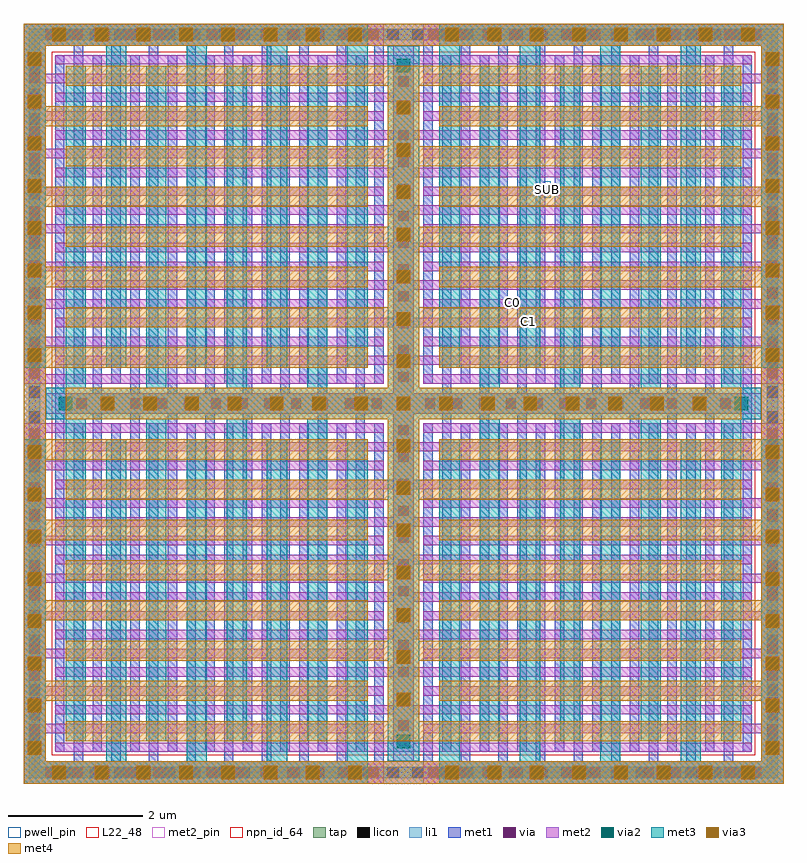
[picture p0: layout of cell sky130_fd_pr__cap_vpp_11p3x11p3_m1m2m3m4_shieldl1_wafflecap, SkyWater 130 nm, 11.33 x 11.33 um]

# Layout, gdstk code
import gdstk
lib = gdstk.Library(unit=1e-6, precision=1e-09)
def R(c, l, rs):  # rectangles x0, y0, x1, y1
    for r in rs: c.add(gdstk.rectangle(r[:2], r[2:], *l))
def A(c, l, x, y, w, h, nx, ny, dx, dy):  # array of equal rectangles
    R(c, l, [(x+i*dx, y+j*dy, x+i*dx+w, y+j*dy+h) for i in range(nx) for j in range(ny)])
def P(c, l, *ps):  # polygons
    for p in ps: c.add(gdstk.Polygon(p, *l))
L22_48 = (22, 48)
tap = (65, 44)
licon = (66, 44)
li1 = (67, 20)
met1 = (68, 20)
via = (68, 44)
met2_pin = (69, 16)
met2 = (69, 20)
via2 = (69, 44)
met3 = (70, 20)
via3 = (70, 44)
met4 = (71, 20)
npn_id_64 = (82, 64)
pwell_pin = (122, 16)

sky130_fd_pr__cap_vpp_11 = lib.new_cell('sky130_fd_pr__cap_vpp_11p3x11p3_m1m2m3m4_shieldl1_wafflecap')
R(sky130_fd_pr__cap_vpp_11, L22_48, [(0.42,0.42,10.91,10.91)])
A(sky130_fd_pr__cap_vpp_11, licon, 0.615, 0.08, 0.17, 0.17, 28, 2, 0.37, 11)
A(sky130_fd_pr__cap_vpp_11, licon, 0.08, 0.57, 0.17, 0.17, 1, 28, 0, 0.37)
A(sky130_fd_pr__cap_vpp_11, licon, 11.08, 0.57, 0.17, 0.17, 1, 28, 0, 0.37)
P(sky130_fd_pr__cap_vpp_11, met1, [(10.86,10.86),(10.72,10.86),(10.72,5.82),(10.3,5.82),(10.3,10.86),(10.16,10.86),(10.16,5.82),(9.74,5.82),(9.74,10.86),(9.6,10.86),(9.6,5.82),(9.18,5.82),(9.18,10.86),(9.04,10.86),(9.04,5.82),(8.62,5.82),(8.62,10.86),(8.48,10.86),(8.48,5.82),(8.06,5.82),(8.06,10.86),(7.92,10.86),(7.92,5.82),(7.5,5.82),(7.5,10.86),(7.36,10.86),(7.36,5.82),(6.94,5.82),(6.94,10.86),(6.8,10.86),(6.8,5.82),(6.38,5.82),(6.38,10.86),(6.24,10.86),(6.24,5.82),(5.82,5.82),(5.82,10.86),(5.51,10.86),(5.51,5.82),(5.09,5.82),(5.09,10.86),(4.95,10.86),(4.95,5.82),(4.53,5.82),(4.53,10.86),(4.39,10.86),(4.39,5.82),(3.97,5.82),(3.97,10.86),(3.83,10.86),(3.83,5.82),(3.41,5.82),(3.41,10.86),(3.27,10.86),(3.27,5.82),(2.85,5.82),(2.85,10.86),(2.71,10.86),(2.71,5.82),(2.29,5.82),(2.29,10.86),(2.15,10.86),(2.15,5.82),(1.73,5.82),(1.73,10.86),(1.59,10.86),(1.59,5.82),(1.17,5.82),(1.17,10.86),(1.03,10.86),(1.03,5.82),(0.61,5.82),(0.61,10.86),(0.47,10.86),(0.47,0.47),(0.61,0.47),(0.61,5.51),(1.03,5.51),(1.03,0.47),(1.17,0.47),(1.17,5.51),(1.59,5.51),(1.59,0.47),(1.73,0.47),(1.73,5.51),(2.15,5.51),(2.15,0.47),(2.29,0.47),(2.29,5.51),(2.71,5.51),(2.71,0.47),(2.85,0.47),(2.85,5.51),(3.27,5.51),(3.27,0.47),(3.41,0.47),(3.41,5.51),(3.83,5.51),(3.83,0.47),(3.97,0.47),(3.97,5.51),(4.39,5.51),(4.39,0.47),(4.53,0.47),(4.53,5.51),(4.95,5.51),(4.95,0.47),(5.09,0.47),(5.09,5.51),(5.51,5.51),(5.51,0.47),(5.82,0.47),(5.82,5.51),(6.24,5.51),(6.24,0.47),(6.38,0.47),(6.38,5.51),(6.8,5.51),(6.8,0.47),(6.94,0.47),(6.94,5.51),(7.36,5.51),(7.36,0.47),(7.5,0.47),(7.5,5.51),(7.92,5.51),(7.92,0.47),(8.06,0.47),(8.06,5.51),(8.48,5.51),(8.48,0.47),(8.62,0.47),(8.62,5.51),(9.04,5.51),(9.04,0.47),(9.18,0.47),(9.18,5.51),(9.6,5.51),(9.6,0.47),(9.74,0.47),(9.74,5.51),(10.16,5.51),(10.16,0.47),(10.3,0.47),(10.3,5.51),(10.72,5.51),(10.72,0.47),(10.86,0.47)],
  [(11.33,11.33),(11,11.33),(11,0.33),(10.58,0.33),(10.58,5.37),(10.44,5.37),(10.44,0.33),(10.02,0.33),(10.02,5.37),(9.88,5.37),(9.88,0.33),(9.46,0.33),(9.46,5.37),(9.32,5.37),(9.32,0.33),(8.9,0.33),(8.9,5.37),(8.76,5.37),(8.76,0.33),(8.34,0.33),(8.34,5.37),(8.2,5.37),(8.2,0.33),(7.78,0.33),(7.78,5.37),(7.64,5.37),(7.64,0.33),(7.22,0.33),(7.22,5.37),(7.08,5.37),(7.08,0.33),(6.66,0.33),(6.66,5.37),(6.52,5.37),(6.52,0.33),(6.1,0.33),(6.1,5.37),(5.96,5.37),(5.96,0.33),(5.37,0.33),(5.37,5.37),(5.23,5.37),(5.23,0.33),(4.81,0.33),(4.81,5.37),(4.67,5.37),(4.67,0.33),(4.25,0.33),(4.25,5.37),(4.11,5.37),(4.11,0.33),(3.69,0.33),(3.69,5.37),(3.55,5.37),(3.55,0.33),(3.13,0.33),(3.13,5.37),(2.99,5.37),(2.99,0.33),(2.57,0.33),(2.57,5.37),(2.43,5.37),(2.43,0.33),(2.01,0.33),(2.01,5.37),(1.87,5.37),(1.87,0.33),(1.45,0.33),(1.45,5.37),(1.31,5.37),(1.31,0.33),(0.89,0.33),(0.89,5.37),(0.75,5.37),(0.75,0.33),(0.33,0.33),(0.33,11),(0.75,11),(0.75,5.96),(0.89,5.96),(0.89,11),(1.31,11),(1.31,5.96),(1.45,5.96),(1.45,11),(1.87,11),(1.87,5.96),(2.01,5.96),(2.01,11),(2.43,11),(2.43,5.96),(2.57,5.96),(2.57,11),(2.99,11),(2.99,5.96),(3.13,5.96),(3.13,11),(3.55,11),(3.55,5.96),(3.69,5.96),(3.69,11),(4.11,11),(4.11,5.96),(4.25,5.96),(4.25,11),(4.67,11),(4.67,5.96),(4.81,5.96),(4.81,11),(5.23,11),(5.23,5.96),(5.37,5.96),(5.37,11),(5.96,11),(5.96,5.96),(6.1,5.96),(6.1,11),(6.52,11),(6.52,5.96),(6.66,5.96),(6.66,11),(7.08,11),(7.08,5.96),(7.22,5.96),(7.22,11),(7.64,11),(7.64,5.96),(7.78,5.96),(7.78,11),(8.2,11),(8.2,5.96),(8.34,5.96),(8.34,11),(8.76,11),(8.76,5.96),(8.9,5.96),(8.9,11),(9.32,11),(9.32,5.96),(9.46,5.96),(9.46,11),(9.88,11),(9.88,5.96),(10.02,5.96),(10.02,11),(10.44,11),(10.44,5.96),(10.58,5.96),(10.58,11),(11,11),(11,11.33),(0,11.33),(0,0),(11.33,0)])
A(sky130_fd_pr__cap_vpp_11, via, 0.335, 0.09, 0.15, 0.15, 13, 2, 0.4, 11)
A(sky130_fd_pr__cap_vpp_11, via, 6.045, 0.09, 0.15, 0.15, 13, 2, 0.4, 11)
A(sky130_fd_pr__cap_vpp_11, via, 0.09, 0.735, 0.15, 0.15, 1, 12, 0, 0.4)
A(sky130_fd_pr__cap_vpp_11, via, 11.09, 0.735, 0.15, 0.15, 1, 12, 0, 0.4)
A(sky130_fd_pr__cap_vpp_11, via, 5.59, 0.79, 0.15, 0.15, 1, 12, 0, 0.4)
A(sky130_fd_pr__cap_vpp_11, via, 0.79, 5.59, 0.15, 0.15, 25, 1, 0.4, 0)
A(sky130_fd_pr__cap_vpp_11, via, 5.59, 5.99, 0.15, 0.15, 1, 12, 0, 0.4)
A(sky130_fd_pr__cap_vpp_11, via, 0.09, 6.045, 0.15, 0.15, 1, 12, 0, 0.4)
A(sky130_fd_pr__cap_vpp_11, via, 11.09, 6.045, 0.15, 0.15, 1, 12, 0, 0.4)
R(sky130_fd_pr__cap_vpp_11, met2_pin, [(7.425,6.81,7.605,6.93), (7.25,7.105,7.345,7.205)])
P(sky130_fd_pr__cap_vpp_11, met2, [(5.37,11.33),(0,11.33),(0,5.96),(5.37,5.96),(5.37,6.1),(0.33,6.1),(0.33,6.52),(5.37,6.52),(5.37,6.66),(0.33,6.66),(0.33,7.08),(5.37,7.08),(5.37,7.22),(0.33,7.22),(0.33,7.64),(5.37,7.64),(5.37,7.78),(0.33,7.78),(0.33,8.2),(5.37,8.2),(5.37,8.34),(0.33,8.34),(0.33,8.76),(5.37,8.76),(5.37,8.9),(0.33,8.9),(0.33,9.32),(5.37,9.32),(5.37,9.46),(0.33,9.46),(0.33,9.88),(5.37,9.88),(5.37,10.02),(0.33,10.02),(0.33,10.44),(5.37,10.44),(5.37,10.58),(0.33,10.58),(0.33,11),(5.37,11)],
  [(10.86,0.61),(5.82,0.61),(5.82,1.03),(10.86,1.03),(10.86,1.17),(5.82,1.17),(5.82,1.59),(10.86,1.59),(10.86,1.73),(5.82,1.73),(5.82,2.15),(10.86,2.15),(10.86,2.29),(5.82,2.29),(5.82,2.71),(10.86,2.71),(10.86,2.85),(5.82,2.85),(5.82,3.27),(10.86,3.27),(10.86,3.41),(5.82,3.41),(5.82,3.83),(10.86,3.83),(10.86,3.97),(5.82,3.97),(5.82,4.39),(10.86,4.39),(10.86,4.53),(5.82,4.53),(5.82,4.95),(10.86,4.95),(10.86,5.09),(5.82,5.09),(5.82,5.51),(11,5.51),(11,5.82),(5.82,5.82),(5.82,6.24),(10.86,6.24),(10.86,6.38),(5.82,6.38),(5.82,6.8),(10.86,6.8),(10.86,6.94),(5.82,6.94),(5.82,7.36),(10.86,7.36),(10.86,7.5),(5.82,7.5),(5.82,7.92),(10.86,7.92),(10.86,8.06),(5.82,8.06),(5.82,8.48),(10.86,8.48),(10.86,8.62),(5.82,8.62),(5.82,9.04),(10.86,9.04),(10.86,9.18),(5.82,9.18),(5.82,9.6),(10.86,9.6),(10.86,9.74),(5.82,9.74),(5.82,10.16),(10.86,10.16),(10.86,10.3),(5.82,10.3),(5.82,10.72),(10.86,10.72),(10.86,10.86),(5.82,10.86),(5.82,11),(5.51,11),(5.51,10.86),(0.47,10.86),(0.47,10.72),(5.51,10.72),(5.51,10.3),(0.47,10.3),(0.47,10.16),(5.51,10.16),(5.51,9.74),(0.47,9.74),(0.47,9.6),(5.51,9.6),(5.51,9.18),(0.47,9.18),(0.47,9.04),(5.51,9.04),(5.51,8.62),(0.47,8.62),(0.47,8.48),(5.51,8.48),(5.51,8.06),(0.47,8.06),(0.47,7.92),(5.51,7.92),(5.51,7.5),(0.47,7.5),(0.47,7.36),(5.51,7.36),(5.51,6.94),(0.47,6.94),(0.47,6.8),(5.51,6.8),(5.51,6.38),(0.47,6.38),(0.47,6.24),(5.51,6.24),(5.51,5.82),(0.33,5.82),(0.33,5.51),(5.51,5.51),(5.51,5.09),(0.47,5.09),(0.47,4.95),(5.51,4.95),(5.51,4.53),(0.47,4.53),(0.47,4.39),(5.51,4.39),(5.51,3.97),(0.47,3.97),(0.47,3.83),(5.51,3.83),(5.51,3.41),(0.47,3.41),(0.47,3.27),(5.51,3.27),(5.51,2.85),(0.47,2.85),(0.47,2.71),(5.51,2.71),(5.51,2.29),(0.47,2.29),(0.47,2.15),(5.51,2.15),(5.51,1.73),(0.47,1.73),(0.47,1.59),(5.51,1.59),(5.51,1.17),(0.47,1.17),(0.47,1.03),(5.51,1.03),(5.51,0.61),(0.47,0.61),(0.47,0.47),(5.51,0.47),(5.51,0.33),(5.82,0.33),(5.82,0.47),(10.86,0.47)],
  [(5.96,0),(11.33,0),(11.33,5.37),(5.96,5.37),(5.96,5.23),(11,5.23),(11,4.81),(5.96,4.81),(5.96,4.67),(11,4.67),(11,4.25),(5.96,4.25),(5.96,4.11),(11,4.11),(11,3.69),(5.96,3.69),(5.96,3.55),(11,3.55),(11,3.13),(5.96,3.13),(5.96,2.99),(11,2.99),(11,2.57),(5.96,2.57),(5.96,2.43),(11,2.43),(11,2.01),(5.96,2.01),(5.96,1.87),(11,1.87),(11,1.45),(5.96,1.45),(5.96,1.31),(11,1.31),(11,0.89),(5.96,0.89),(5.96,0.75),(11,0.75),(11,0.33),(5.96,0.33)],
  [(5.96,11.33),(11.33,11.33),(11.33,5.96),(5.96,5.96),(5.96,6.1),(11,6.1),(11,6.52),(5.96,6.52),(5.96,6.66),(11,6.66),(11,7.08),(5.96,7.08),(5.96,7.22),(11,7.22),(11,7.64),(5.96,7.64),(5.96,7.78),(11,7.78),(11,8.2),(5.96,8.2),(5.96,8.34),(11,8.34),(11,8.76),(5.96,8.76),(5.96,8.9),(11,8.9),(11,9.32),(5.96,9.32),(5.96,9.46),(11,9.46),(11,9.88),(5.96,9.88),(5.96,10.02),(11,10.02),(11,10.44),(5.96,10.44),(5.96,10.58),(11,10.58),(11,11),(5.96,11)],
  [(5.37,0),(0,0),(0,5.37),(5.37,5.37),(5.37,5.23),(0.33,5.23),(0.33,4.81),(5.37,4.81),(5.37,4.67),(0.33,4.67),(0.33,4.25),(5.37,4.25),(5.37,4.11),(0.33,4.11),(0.33,3.69),(5.37,3.69),(5.37,3.55),(0.33,3.55),(0.33,3.13),(5.37,3.13),(5.37,2.99),(0.33,2.99),(0.33,2.57),(5.37,2.57),(5.37,2.43),(0.33,2.43),(0.33,2.01),(5.37,2.01),(5.37,1.87),(0.33,1.87),(0.33,1.45),(5.37,1.45),(5.37,1.31),(0.33,1.31),(0.33,0.89),(5.37,0.89),(5.37,0.75),(0.33,0.75),(0.33,0.33),(5.37,0.33)])
A(sky130_fd_pr__cap_vpp_11, via2, 0.43, 0.065, 0.2, 0.2, 8, 2, 0.63, 11)
A(sky130_fd_pr__cap_vpp_11, via2, 6.29, 0.065, 0.2, 0.2, 8, 2, 0.63, 11)
A(sky130_fd_pr__cap_vpp_11, via2, 0.065, 0.43, 0.2, 0.2, 1, 8, 0, 0.63)
A(sky130_fd_pr__cap_vpp_11, via2, 11.065, 0.43, 0.2, 0.2, 1, 8, 0, 0.63)
A(sky130_fd_pr__cap_vpp_11, via2, 5.565, 0.525, 0.2, 0.2, 1, 8, 0, 0.63)
A(sky130_fd_pr__cap_vpp_11, via2, 0.525, 5.565, 0.2, 0.2, 17, 1, 0.63, 0)
A(sky130_fd_pr__cap_vpp_11, via2, 5.565, 6.195, 0.2, 0.2, 1, 8, 0, 0.63)
A(sky130_fd_pr__cap_vpp_11, via2, 0.065, 6.29, 0.2, 0.2, 1, 8, 0, 0.63)
A(sky130_fd_pr__cap_vpp_11, via2, 11.065, 6.29, 0.2, 0.2, 1, 8, 0, 0.63)
P(sky130_fd_pr__cap_vpp_11, met3, [(11.33,11.33),(6.2,11.33),(6.2,6.2),(6.5,6.2),(6.5,11),(7.4,11),(7.4,6.2),(7.7,6.2),(7.7,11),(8.6,11),(8.6,6.2),(8.9,6.2),(8.9,11),(9.8,11),(9.8,6.2),(10.1,6.2),(10.1,11),(11,11),(11,6.2),(11.33,6.2)],
  [(11.33,5.13),(11,5.13),(11,0.33),(10.1,0.33),(10.1,5.13),(9.8,5.13),(9.8,0.33),(8.9,0.33),(8.9,5.13),(8.6,5.13),(8.6,0.33),(7.7,0.33),(7.7,5.13),(7.4,5.13),(7.4,0.33),(6.5,0.33),(6.5,5.13),(6.2,5.13),(6.2,0),(11.33,0)],
  [(5.13,5.13),(4.83,5.13),(4.83,0.33),(3.93,0.33),(3.93,5.13),(3.63,5.13),(3.63,0.33),(2.73,0.33),(2.73,5.13),(2.43,5.13),(2.43,0.33),(1.53,0.33),(1.53,5.13),(1.23,5.13),(1.23,0.33),(0.33,0.33),(0.33,5.13),(0,5.13),(0,0),(5.13,0)],
  [(5.13,11.33),(0,11.33),(0,6.2),(0.33,6.2),(0.33,11),(1.23,11),(1.23,6.2),(1.53,6.2),(1.53,11),(2.43,11),(2.43,6.2),(2.73,6.2),(2.73,11),(3.63,11),(3.63,6.2),(3.93,6.2),(3.93,11),(4.83,11),(4.83,6.2),(5.13,6.2)],
  [(11,5.9),(10.7,5.9),(10.7,10.7),(10.4,10.7),(10.4,5.9),(9.5,5.9),(9.5,10.7),(9.2,10.7),(9.2,5.9),(8.3,5.9),(8.3,10.7),(8,10.7),(8,5.9),(7.1,5.9),(7.1,10.7),(6.8,10.7),(6.8,5.9),(5.9,5.9),(5.9,11),(5.43,11),(5.43,5.9),(4.53,5.9),(4.53,10.7),(4.23,10.7),(4.23,5.9),(3.33,5.9),(3.33,10.7),(3.03,10.7),(3.03,5.9),(2.13,5.9),(2.13,10.7),(1.83,10.7),(1.83,5.9),(0.93,5.9),(0.93,10.7),(0.63,10.7),(0.63,5.9),(0.33,5.9),(0.33,5.43),(0.63,5.43),(0.63,0.63),(0.93,0.63),(0.93,5.43),(1.83,5.43),(1.83,0.63),(2.13,0.63),(2.13,5.43),(3.03,5.43),(3.03,0.63),(3.33,0.63),(3.33,5.43),(4.23,5.43),(4.23,0.63),(4.53,0.63),(4.53,5.43),(5.43,5.43),(5.43,0.33),(5.9,0.33),(5.9,5.43),(6.8,5.43),(6.8,0.63),(7.1,0.63),(7.1,5.43),(8,5.43),(8,0.63),(8.3,0.63),(8.3,5.43),(9.2,5.43),(9.2,0.63),(9.5,0.63),(9.5,5.43),(10.4,5.43),(10.4,0.63),(10.7,0.63),(10.7,5.43),(11,5.43)])
A(sky130_fd_pr__cap_vpp_11, via3, 0.43, 0.065, 0.2, 0.2, 8, 2, 0.63, 11)
A(sky130_fd_pr__cap_vpp_11, via3, 6.29, 0.065, 0.2, 0.2, 8, 2, 0.63, 11)
A(sky130_fd_pr__cap_vpp_11, via3, 0.065, 0.43, 0.2, 0.2, 1, 8, 0, 0.63)
A(sky130_fd_pr__cap_vpp_11, via3, 11.065, 0.43, 0.2, 0.2, 1, 8, 0, 0.63)
A(sky130_fd_pr__cap_vpp_11, via3, 5.565, 1.155, 0.2, 0.2, 1, 7, 0, 0.63)
A(sky130_fd_pr__cap_vpp_11, via3, 1.155, 5.565, 0.2, 0.2, 15, 1, 0.63, 0)
A(sky130_fd_pr__cap_vpp_11, via3, 5.565, 6.195, 0.2, 0.2, 1, 7, 0, 0.63)
A(sky130_fd_pr__cap_vpp_11, via3, 0.065, 6.29, 0.2, 0.2, 1, 8, 0, 0.63)
A(sky130_fd_pr__cap_vpp_11, via3, 11.065, 6.29, 0.2, 0.2, 1, 8, 0, 0.63)
P(sky130_fd_pr__cap_vpp_11, met4, [(0,11.33),(0,11),(11,11),(11,10.1),(6.2,10.1),(6.2,9.8),(11,9.8),(11,8.9),(6.2,8.9),(6.2,8.6),(11,8.6),(11,7.7),(6.2,7.7),(6.2,7.4),(11,7.4),(11,6.5),(6.2,6.5),(6.2,6.2),(11,6.2),(11,5.13),(6.2,5.13),(6.2,4.83),(11,4.83),(11,3.93),(6.2,3.93),(6.2,3.63),(11,3.63),(11,2.73),(6.2,2.73),(6.2,2.43),(11,2.43),(11,1.53),(6.2,1.53),(6.2,1.23),(11,1.23),(11,0.33),(0.33,0.33),(0.33,1.23),(5.13,1.23),(5.13,1.53),(0.33,1.53),(0.33,2.43),(5.13,2.43),(5.13,2.73),(0.33,2.73),(0.33,3.63),(5.13,3.63),(5.13,3.93),(0.33,3.93),(0.33,4.83),(5.13,4.83),(5.13,5.13),(0.33,5.13),(0.33,6.2),(5.13,6.2),(5.13,6.5),(0.33,6.5),(0.33,7.4),(5.13,7.4),(5.13,7.7),(0.33,7.7),(0.33,8.6),(5.13,8.6),(5.13,8.9),(0.33,8.9),(0.33,9.8),(5.13,9.8),(5.13,10.1),(0.33,10.1),(0.33,11),(0,11),(0,0),(11.33,0),(11.33,11.33)],
  [(0.63,10.7),(0.63,10.4),(5.43,10.4),(5.43,9.5),(0.63,9.5),(0.63,9.2),(5.43,9.2),(5.43,8.3),(0.63,8.3),(0.63,8),(5.43,8),(5.43,7.1),(0.63,7.1),(0.63,6.8),(5.43,6.8),(5.43,5.9),(0.63,5.9),(0.63,5.43),(5.43,5.43),(5.43,4.53),(0.63,4.53),(0.63,4.23),(5.43,4.23),(5.43,3.33),(0.63,3.33),(0.63,3.03),(5.43,3.03),(5.43,2.13),(0.63,2.13),(0.63,1.83),(5.43,1.83),(5.43,0.93),(0.63,0.93),(0.63,0.63),(10.7,0.63),(10.7,0.93),(5.9,0.93),(5.9,1.83),(10.7,1.83),(10.7,2.13),(5.9,2.13),(5.9,3.03),(10.7,3.03),(10.7,3.33),(5.9,3.33),(5.9,4.23),(10.7,4.23),(10.7,4.53),(5.9,4.53),(5.9,5.43),(10.7,5.43),(10.7,5.9),(5.9,5.9),(5.9,6.8),(10.7,6.8),(10.7,7.1),(5.9,7.1),(5.9,8),(10.7,8),(10.7,8.3),(5.9,8.3),(5.9,9.2),(10.7,9.2),(10.7,9.5),(5.9,9.5),(5.9,10.4),(10.7,10.4),(10.7,10.7)])
R(sky130_fd_pr__cap_vpp_11, npn_id_64, [(0.17,0.17,11.16,11.16)])
R(sky130_fd_pr__cap_vpp_11, pwell_pin, [(7.755,8.735,7.86,8.98)])
sky130_fd_pr__cap_vpp_11.add(gdstk.FlexPath([(11.165,0.08),(11.165,11.25)], 0.17, ends="flush", simple_path=True, layer=65, datatype=44))  # tap
sky130_fd_pr__cap_vpp_11.add(gdstk.FlexPath([(11.25,11.165),(0.08,11.165)], 0.17, ends="flush", simple_path=True, layer=65, datatype=44))  # tap
sky130_fd_pr__cap_vpp_11.add(gdstk.FlexPath([(11.25,0.165),(0.08,0.165)], 0.17, ends="flush", simple_path=True, layer=65, datatype=44))  # tap
sky130_fd_pr__cap_vpp_11.add(gdstk.FlexPath([(0.165,0.08),(0.165,11.25)], 0.17, ends="flush", simple_path=True, layer=65, datatype=44))  # tap
sky130_fd_pr__cap_vpp_11.add(gdstk.FlexPath([(11.165,0.08),(11.165,11.25)], 0.17, ends="flush", simple_path=True, layer=67, datatype=20))  # li1
sky130_fd_pr__cap_vpp_11.add(gdstk.FlexPath([(11.25,11.165),(0.08,11.165)], 0.17, ends="flush", simple_path=True, layer=67, datatype=20))  # li1
sky130_fd_pr__cap_vpp_11.add(gdstk.FlexPath([(0.165,0.08),(0.165,11.25)], 0.17, ends="flush", simple_path=True, layer=67, datatype=20))  # li1
sky130_fd_pr__cap_vpp_11.add(gdstk.FlexPath([(11.25,0.165),(0.08,0.165)], 0.17, ends="flush", simple_path=True, layer=67, datatype=20))  # li1
sky130_fd_pr__cap_vpp_11.add(gdstk.Label('C0', (7.285,7.165), layer=69, texttype=5))
sky130_fd_pr__cap_vpp_11.add(gdstk.Label('C1', (7.53,6.885), layer=69, texttype=5))
sky130_fd_pr__cap_vpp_11.add(gdstk.Label('SUB', (7.81,8.86), layer=64, texttype=59))

lib.write_gds('sky130_fd_pr__cap_vpp_11p3x11p3_m1m2m3m4_shieldl1_wafflecap.gds')
